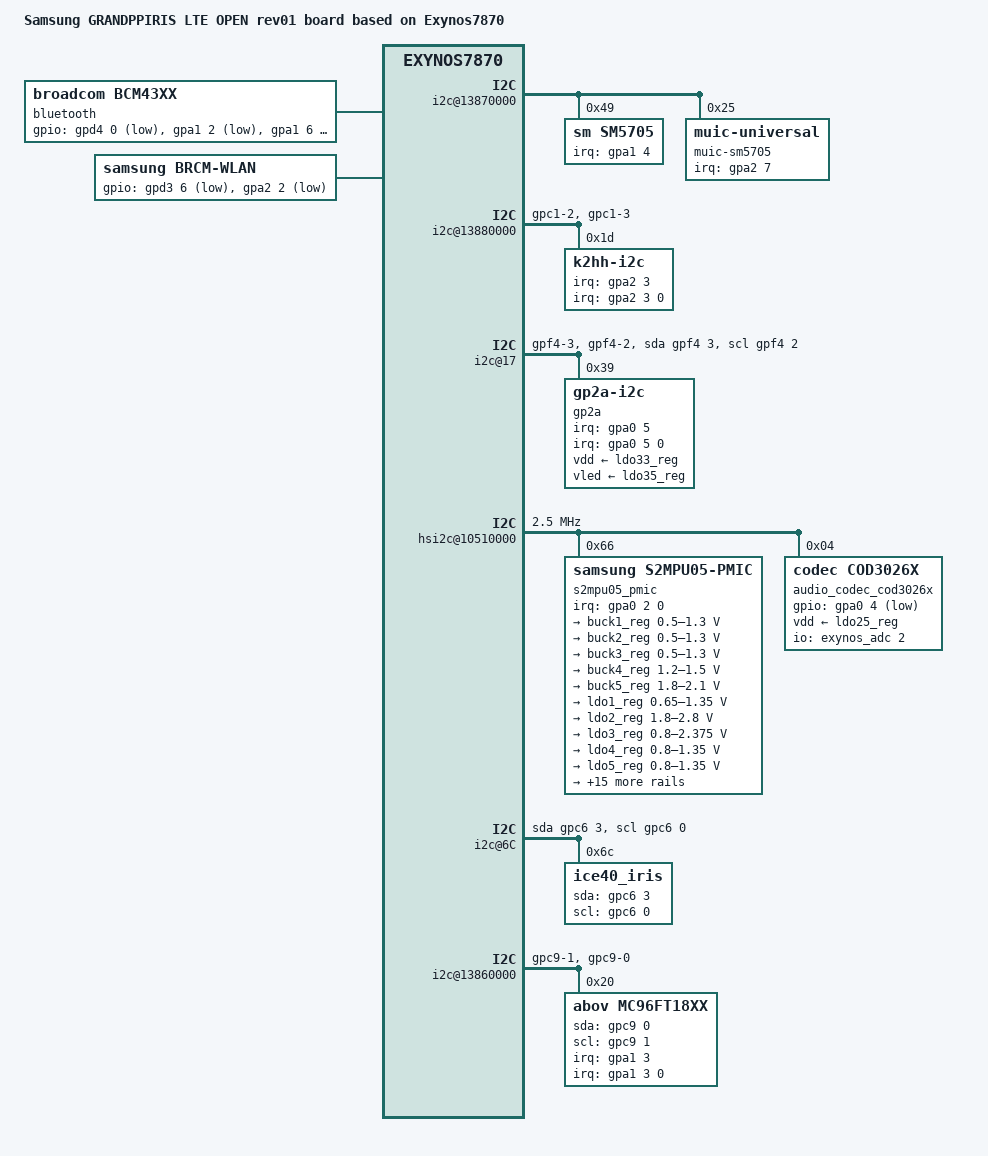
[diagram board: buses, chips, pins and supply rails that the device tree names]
/*
 * SAMSUNG UNIVERSAL8890 board device tree source
 *
 * Copyright (c) 2013 Samsung Electronics Co., Ltd.
 *		http://www.samsung.com
 *
 * This program is free software; you can redistribute it and/or modify
 * it under the terms of the GNU General Public License version 2 as
 * published by the Free Software Foundation.
*/

/dts-v1/;
#include "exynos7870-grandppirislte_common.dtsi"
#include "modem-ss315ap-pdata.dtsi"
#include "exynos7870-grandppirislte_swa_open_gpio_01.dtsi"
#include "exynos7870-grandppirislte_swa_open_battery_00.dtsi"

/ {
	model = "Samsung GRANDPPIRIS LTE OPEN rev01 board based on Exynos7870";
        model_info-chip = <7870>;
        model_info-platform = "android";
        model_info-subtype = "samsung";
        model_info-hw_rev = <1>;
        model_info-hw_rev_end = <255>;
	compatible = "samsung, GRANDPPIRIS LTE SWA OPEN 01", "samsung,exynos7870";

	i2c@13870000 {
		status = "okay";
		samsung,i2c-sda-delay = <100>;
		samsung,i2c-max-bus-freq = <400000>;

		sm5705@49 {
			status = "okay";
			compatible = "sm,sm5705";
			reg = <0x49>; 
			pinctrl-names = "default";
			pinctrl-0 = <&if_irq &chg_en>;
			sm5705,irq-gpio = <&gpa1 4 0>;
			sm5705,wakeup;
		};

		 muic-sm5705@25{
			compatible = "muic-universal";
			reg = <0x25>;
			pinctrl-names = "default";
			pinctrl-0 = <&muic_irq>;
			muic-universal,chip_name = "sm,sm5705";
			muic-universal,irq-gpio = <&gpa2 7 0>;         //muic_int
			muic-universal,wakeup;
		};
	};

	pinctrl@139F0000 {
		acc_int: acc_int {
			samsung,pins = "gpa2-3";
			samsung,pin-function = <0xf>;
			samsung,pin-pud = <0>;
			samsung,pin-drv = <0>;
		};
		 grip_irq: grip-irq {
 			samsung,pins = "gpa1-3";
 			samsung,pin-function = <0xf>;
 			samsung,pin-pud = <3>;
 			samsung,pin-drv = <0>;
 		};
	};

	pinctrl@139B0000 {
		sensor_i2c: sensor_i2c {
			samsung,pins = "gpc1-2", "gpc1-3";
			samsung,pin-function = <2>;
			samsung,pin-pud = <0>;
		};

		proxy_i2c: proxy_i2c {
			samsung,pins = "gpf4-3", "gpf4-2";
			samsung,pin-function = <3>;
			samsung,pin-pud = <0>;
		};
	};

	i2c@13880000 {
		samsung,i2c-sda-delay = <100>;
		samsung,i2c-max-bus-freq = <400000>;
		status = "okay";
		#address-cells = <1>;
		#size-cells = <0>;
		pinctrl-names = "default";
		pinctrl-0 = <&sensor_i2c>;

		k2hh-i2c@1D {
			compatible = "k2hh-i2c";
			reg = <0x1D>;
			pinctrl-names = "default";
			pinctrl-0 = <&acc_int>;
			interrupt-parent = <&gpa2>;
			interrupts = <3 0 0>;
			k2hh,irq_gpio = <&gpa2 3 0>;
			k2hh,axis_map_x = <0>;
			k2hh,axis_map_y = <1>;
			k2hh,axis_map_z = <2>;
			k2hh,negate_x = <0>;
			k2hh,negate_y = <1>;
			k2hh,negate_z = <1>;
			k2hh,poll_interval = <100>;
			k2hh,min_interval = <2>;
		};
	};

	i2c@17 {
		compatible = "i2c-gpio";
		gpios = <&gpf4 3 0 /* sda */
				&gpf4 2 0 /* scl */>;
		i2c-gpio,delay-us = <2>;
		i2c-gpio,scl-output-only;
		#address-cells = <1>;
		#size-cells = <0>;
		status = "okay";
		pinctrl-names = "default";
		pinctrl-0 = <&proxy_i2c>;

		gp2a@39 {
			compatible = "gp2a-i2c";
			reg = <0x39>;
			interrupt-parent = <&gpa0>;
			interrupts = <5 0 0>;
			pinctrl-names = "default";
			gp2a,vdd-supply = <&ldo33_reg>;
			gp2a,vled-supply = <&ldo35_reg>;
			gp2a,vled_ldo = <&gpd2 3 0x00>;
			gp2a,irq-gpio = <&gpa0 5 0x00>;
			gp2a,vdd_always_on = <1>;
			gp2a,regulator_divided = <1>;
			gp2a,default_high_thd = <130>;
			gp2a,default_low_thd = <80>;
			gp2a,reg_intval = <0x03>;
			gp2a,reg_res_p = <0x20>;
			gp2a,reg_ledctrl = <0x24>;
			gp2a,reg_prst = <0x38>;
			gp2a,default_offset = <30>;
			gp2a,cancel_high_thd = <40>;
			gp2a,cancel_low_thd = <30>;
		};
	};

	but_zones: but_zones {
		#list-but-cells = <3>;
	};

	hsi2c@10510000 {
		status = "okay";
		samsung,hs-mode;
		clock-frequency = <2500000>;
		samsung,hsi2c-batcher;
		#address-cells = <1>;
		#size-cells = <0>;

		s2mpu05_pmic@66 {
			compatible = "samsung,s2mpu05-pmic";
			reg = <0x66>;
			ten-bit-address;
			interrupts = <2 0 0>;
			interrupt-parent = <&gpa0>;
			pinctrl-names = "default";
			pinctrl-0 = <&pmic_irq &pm_wrsti>;
			g3d_en = <1>; /* 1 : enable , 0 : disable */
			buck2en_pin = "etc1-3";
			buck2en_addr = "139B0080.pinctrl";
			/* RTC: wtsr/smpl */
			wtsr_en = <1>; /* enable */
			smpl_en = <1>; /* enable */
			wtsr_timer_val = <3>;   /* 1000ms */
			smpl_timer_val = <0>;   /* 100ms */
			check_jigon = <0>; /* do not check jigon */
			/* RTC: If it's first boot, reset rtc to 1/1/2016 12:00:00(Fri) */
			init_time,sec = <0>;
			init_time,min = <0>;
			init_time,hour = <12>;
			init_time,mday = <1>;
			init_time,mon = <0>;
			init_time,year = <116>;
			init_time,wday = <5>;

			regulators {
				buck1_reg: BUCK1 {
					regulator-name = "BUCK1";
					regulator-min-microvolt = <500000>;
					regulator-max-microvolt = <1300000>;
					regulator-always-on;
					regulator-boot-on;
					regulator-ramp-delay = <12000>;
					regulator-initial-mode = <1>;
					regulator-expected-consumer = <2>;
				};

				buck2_reg: BUCK2 {
					regulator-name = "BUCK2";
					regulator-min-microvolt = <500000>;
					regulator-max-microvolt = <1300000>;
					regulator-always-on;
					regulator-boot-on;
					regulator-ramp-delay = <12000>;
					regulator-initial-mode = <2>;		/* MIF mode */
					regulator-expected-consumer = <4>;
				};

				buck3_reg: BUCK3 {
					regulator-name = "BUCK3";
					regulator-min-microvolt = <500000>;
					regulator-max-microvolt = <1300000>;
					regulator-always-on;
					regulator-boot-on;
					regulator-ramp-delay = <12000>;
					regulator-initial-mode = <2>;
				};

				buck4_reg: BUCK4 {
					regulator-name = "BUCK4";
					regulator-min-microvolt = <1200000>;
					regulator-max-microvolt = <1500000>;
					regulator-always-on;
					regulator-boot-on;
					regulator-ramp-delay = <12000>;
					regulator-initial-mode = <2>;
				};

				buck5_reg: BUCK5 {
					regulator-name = "BUCK5";
					regulator-min-microvolt = <1800000>;
					regulator-max-microvolt = <2100000>;
					regulator-always-on;
					regulator-boot-on;
					regulator-ramp-delay = <12000>;
					regulator-initial-mode = <2>;
				};

				ldo1_reg: LDO1 {
					regulator-name = "vdd_ldo1";
					regulator-min-microvolt = <650000>;
					regulator-max-microvolt = <1350000>;
					regulator-always-on;
					regulator-boot-on;
					regulator-ramp-delay = <12000>;
					regulator-initial-mode = <3>;
				};

				ldo2_reg: LDO2 {
					regulator-name = "vqmmc";
					regulator-min-microvolt = <1800000>;
					regulator-max-microvolt = <2800000>;
					regulator-ramp-delay = <12000>;
					regulator-initial-mode = <0>;
				};

				ldo3_reg: LDO3 {
					regulator-name = "vdd_ldo3";
					regulator-min-microvolt = <800000>;
					regulator-max-microvolt = <2375000>;
					regulator-boot-on;
					regulator-always-on;
					regulator-ramp-delay = <12000>;
					regulator-initial-mode = <3>;
				};

				ldo4_reg: LDO4 {
					regulator-name = "vdd_ldo4";
					regulator-min-microvolt = <800000>;
					regulator-max-microvolt = <1350000>;
					regulator-boot-on;
					regulator-always-on;
					regulator-ramp-delay = <12000>;
					regulator-initial-mode = <1>;
				};

				ldo5_reg: LDO5 {
					regulator-name = "vdd_ldo5";
					regulator-min-microvolt = <800000>;
					regulator-max-microvolt = <1350000>;
					regulator-boot-on;
					regulator-always-on;
					regulator-ramp-delay = <12000>;
					regulator-initial-mode = <3>;
				};

				ldo6_reg: LDO6 {
					regulator-name = "vdd_ldo6";
					regulator-min-microvolt = <800000>;
					regulator-max-microvolt = <1350000>;
					regulator-boot-on;
					regulator-always-on;
					regulator-ramp-delay = <12000>;
					regulator-initial-mode = <1>;
				};

				ldo7_reg: LDO7 {
					regulator-name = "vdd_ldo7";
					regulator-min-microvolt = <800000>;
					regulator-max-microvolt = <2375000>;
					regulator-boot-on;
					regulator-always-on;
					regulator-ramp-delay = <12000>;
					regulator-initial-mode = <1>;
				};

				ldo8_reg: LDO8 {
					regulator-name = "vdd_ldo8";
					regulator-min-microvolt = <1800000>;
					regulator-max-microvolt = <3375000>;
					regulator-boot-on;
					regulator-always-on;
					regulator-ramp-delay = <12000>;
					regulator-initial-mode = <1>;
				};

				ldo9_reg: LDO9 {
					regulator-name = "vdd_ldo9";
					regulator-min-microvolt = <650000>;
					regulator-max-microvolt = <1350000>;
					regulator-always-on;
					regulator-ramp-delay = <12000>;
					regulator-initial-mode = <1>;
				};

				ldo10_reg: LDO10 {
					regulator-name = "vdd_ldo10";
					regulator-min-microvolt = <650000>;
					regulator-max-microvolt = <1350000>;
					regulator-always-on;
					regulator-ramp-delay = <12000>;
					regulator-initial-mode = <1>;
				};

				ldo25_reg: LDO25 {
					regulator-name = "vdd_ldo25";
					regulator-min-microvolt = <800000>;
					regulator-max-microvolt = <2375000>;
					regulator-ramp-delay = <12000>;
					regulator-initial-mode = <1>;
				};

				ldo26_reg: LDO26 {
					regulator-name = "vemmc";
					regulator-min-microvolt = <1800000>;
					regulator-max-microvolt = <3375000>;
					regulator-boot-on;
					regulator-ramp-delay = <12000>;
					regulator-initial-mode = <3>;
				};

				ldo27_reg: LDO27 {
					regulator-name = "vqemmc";
					regulator-min-microvolt = <800000>;
					regulator-max-microvolt = <2375000>;
					regulator-boot-on;
					regulator-ramp-delay = <12000>;
					regulator-initial-mode = <3>;
				};

				ldo29_reg: LDO29 {
					regulator-name = "LCD_3P0";
					regulator-min-microvolt = <3000000>;
					regulator-max-microvolt = <3000000>;
					regulator-boot-on;
					regulator-initial-mode = <3>;
				};

				ldo30_reg: LDO30 {
					regulator-name = "LCD_1P8";
					regulator-min-microvolt = <1800000>;
					regulator-max-microvolt = <1800000>;
					regulator-boot-on;
					regulator-initial-mode = <3>;
				};

				ldo31_reg: LDO31 {
					regulator-name = "vdd_ldo31";
					regulator-min-microvolt = <2800000>;
					regulator-max-microvolt = <2800000>;
					regulator-boot-on;
					regulator-always-on;
					regulator-ramp-delay = <12000>;
					regulator-initial-mode = <3>;
				};

				ldo32_reg: LDO32 {
					regulator-name = "VDD_MOTOR_3.3";
					regulator-min-microvolt = <3300000>;
					regulator-max-microvolt = <3300000>;
					regulator-ramp-delay = <12000>;
				};

				ldo33_reg: LDO33 {
					regulator-name = "vdd_sensor_3p3";
					regulator-min-microvolt = <3300000>;
					regulator-max-microvolt = <3300000>;
					regulator-always-on;
					regulator-ramp-delay = <12000>;
					regulator-initial-mode = <3>;
				};

				ldo34_reg: LDO34 {
					regulator-name = "tsp_avdd";
					regulator-min-microvolt = <3300000>;
					regulator-max-microvolt = <3300000>;
				};

				ldo35_reg: LDO35 {
					regulator-name = "proxy_3p3";
					regulator-min-microvolt = <3300000>;
					regulator-max-microvolt = <3300000>;
					regulator-always-on;
					regulator-initial-mode = <0>;
				};
			};
		};

		audio_codec_cod3026x: cod3026x@04 {
			compatible = "codec,cod3026x";
			reg = <0x04>;
			ten-bit-address;
			vdd-supply = <&ldo25_reg>;
			pinctrl-names = "default";
			pinctrl-0 = <&cod3026_irq>;
			interrupt-parent = <&gpa0>;
			gpios = <&gpa0 4 0xf>;
			mic-bias1-voltage = <1>;
			mic-bias2-voltage = <1>;
			mic-bias-ldo-voltage = <3>;
			use-det-adc-mode;
			io-channels = <&exynos_adc 2>;
			io-channel-names = "adc-jack";
			#io-channel-cells = <1>;
			io-channel-ranges;
			but-zones-list = <&but_zones 226 0 240>, /* send/end */
					<&but_zones 582 241 317>, /* google */
					<&but_zones 115 318 517>, /* vol up */
					<&but_zones 114 518 1107>; /* vol down */
			mic-adc-range = <1347>;
			mic-det-delay = <550>;
		};
	};

	bluetooth {
		compatible = "broadcom,bcm43xx";
		gpios = <&gpd4 0 0x1
				&gpa1 2 0x1
				&gpa1 6 0xF >;
		pinctrl-names = "default";
		pinctrl-0=<&bt_hostwake &bt_btwake &bt_en>;
		status = "okay";
	};

	pinctrl@139F0000 {
		bt_btwake: bt-btwake {
		samsung,pins = "gpa1-2";
		samsung,pin-function = <1>;
		samsung,pin-pud = <1>;
		};

		bt_hostwake: bt-hostwake {
			samsung,pins = "gpa1-6";
			samsung,pin-function = <0>;
			samsung,pin-pud = <0>;
		};
	};

	pinctrl@139B0000 {
		bt_en: bt-en {
		samsung,pins ="gpd4-0";
		samsung,pin-function = <1>;
		samsung,pin-pud = <0>;
		samsung,pin-con-pdn = <3>;
		samsung,pin-pud-pdn = <0>;
		};
	};

	wlan {
		compatible = "samsung,brcm-wlan";
		gpios = <&gpd3 6 0x1 /* WLAN_EN */
				&gpa2 2 0x1 /* WLAN HOST WAKE GPIO_0 */>;
		pinctrl-names = "default";
		pinctrl-0 = <&cfg_wlanen &cfg_wlanhostwake>;
		status = "okay";
	};

	pinctrl@139F0000 {
		cfg_wlanhostwake: cfg-wlanhostwake {
			samsung,pins = "gpa2-2";
			samsung,pin-function = <0>;
			samsung,pin-pud = <1>;
		};
	};

	pinctrl@139B0000 {
		cfg_wlanen: cfg-wlanen{		/* WLAN_EN */
			samsung,pins = "gpd3-6";
			samsung,pin-function = <1>;
			samsung,pin-pud = <0>;
			samsung,pin-drv = <3>;
			samsung,pin-con-pdn = <3>;
			samsung,pin-pud-pdn = <0>;
			samsung,pin-val = <0>;
		};
	};

	pinctrl@139B0000 {
		ice40_iris_fw_ready: ice40_iris_fw_ready {
			samsung,pins = "gpc6-3", "gpc6-0", "gpd4-1", "gpf2-1", "gpc6-1";
			samsung,pin-function = <0>;
			samsung,pin-pud = <0>;
			samsung,pin-drv = <2>;
		};
		grip_i2c: grip-i2c {
			samsung,pins = "gpc9-1", "gpc9-0";
			samsung,pin-function = <2>;
			samsung,pin-pud = <0>;
		};
	};

	i2c@6C {
		compatible = "i2c-gpio";
		gpios = <&gpc6 3 0 /* sda */
			&gpc6 0 0 /* scl */
			>;
		#i2c-gpio-scl = <&gpc6 0 0>;
		#i2c-gpio-sda = <&gpc6 3 0>;
		i2c-gpio,delay-us = <2>;
		#address-cells = <1>;
		#size-cells = <0>;
		status="okay";

		ice40_iris@6C {
			compatible = "ice40_iris";
			reg = <0x6C>;
			pinctrl-names = "ice40_iris_fw_ready";
			pinctrl-0 = <&ice40_iris_fw_ready>;
			ice40,fw_ver = <1>;
			ice40,sda-gpio = <&gpc6 3 0>;
			ice40,scl-gpio = <&gpc6 0 0>;
			ice40,cresetb = <&gpd4 1 0>;
			ice40,cdone = <&gpf2 1 0>;
			ice40,reset_n = <&gpc6 1 0>;
			ice40,fpga_clk=<&gpq0 0 0>;
		};
	};
	
	i2c@13860000 {
		samsung,i2c-sda-delay = <100>;
		samsung,i2c-max-bus-freq = <400000>;
		status = "okay";
		#address-cells = <1>;
		#size-cells = <0>;
		pinctrl-names = "default";
		pinctrl-0 = <&grip_i2c>;
		
		abov@20 {
			status = "okay";
			compatible = "abov,mc96ft18xx";
			pinctrl-names = "on_irq", "off_irq";
			pinctrl-0 = <&grip_irq>;
			reg = <0x20>;
			interrupt-parent = <&gpa1>;
			interrupts = <3 0 0>;
			abov,sda-gpio = <&gpc9 0 0>;
			abov,scl-gpio = <&gpc9 1 0>;
			abov,irq-gpio = <&gpa1 3 0>;
			abov,gpio_en = <&gpd4 5 0>;
			abov,fw_path = "abov/a96t316_gppiris.fw";
 		};
		
 	};

};
